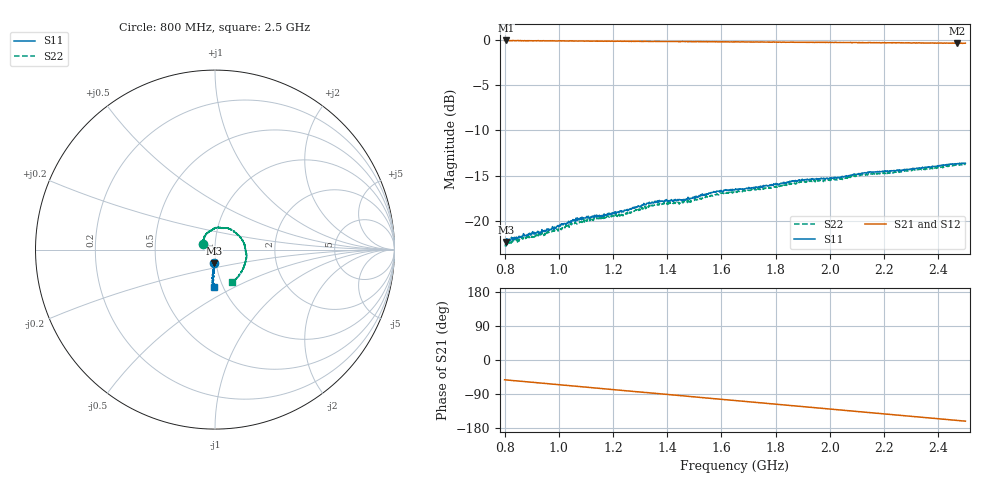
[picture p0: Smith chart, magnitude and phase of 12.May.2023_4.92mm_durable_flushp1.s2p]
!Keysight Technologies N9950B: A.12.38
!Date: Friday, 12 May 2023 16:29:35
!Timezone: (UTC-06:00) Central Time (US & Canada)
!Model: N9950B
!Serial: MY61131330
!GPS Latitude:
!GPS Longitude:
!GPS TimeStamp: 0001-01-01 00:00:00Z
!GPS Seconds Since Last Read: 0
!CHECKSUM:1173795948
!Correction: S11(ON U)S21(ON U)S12(ON U)S22(ON U)
!S2P File: Measurements:S11,S21,S12,S22:
# Hz S DB R 50
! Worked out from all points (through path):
!   1001 points, 800 MHz to 2.5 GHz, reference 50 ohm
!   highest |S21| = -0.10 dB at 805.1 MHz (marker M1); lowest = -0.4 dB at 2.469 GHz (marker M2)
!   group delay of S21, straight-line fit = 178 ps
!   lowest |S11| = -22.3 dB at 806.8 MHz (marker M3), VSWR 1.17, Z = 48.9 - j7.51 ohm
!   |S11| at or under -10 dB: start of sweep to end of sweep
!   |S22| runs from -22.8 to -13.7 dB; largest |S21 - S12| = 0.0064
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8e8  -22.22 -93.8  -0.11 -52.2  -0.14 -52.2  -22.71 156.5
8.051e8  -22.11 -93.7  -0.10 -52.5  -0.13 -52.5  -22.79 156.7
8.068e8  -22.32 -94.2  -0.12 -52.6  -0.14 -52.7  -22.44 155.7
8.34e8  -21.93 -93.0  -0.12 -54.3  -0.13 -54.4  -22.31 152.8
9.598e8  -20.91 -92.2  -0.14 -62.5  -0.16 -62.6  -21.31 136.1
1.0482e9  -20.01 -94.2  -0.15 -68.3  -0.19 -68.2  -20.33 125.8
1.0839e9  -19.88 -92.9  -0.16 -70.5  -0.18 -70.5  -20.08 119.9
1.157e9  -19.44 -92.3  -0.17 -75.2  -0.19 -75.3  -19.75 109.6
1.2267e9  -18.91 -94.0  -0.18 -79.7  -0.20 -79.7  -19.18 102.0
1.3678e9  -17.95 -93.3  -0.22 -88.7  -0.23 -88.7  -18.23 84.3
1.4613e9  -17.74 -94.0  -0.22 -94.8  -0.25 -94.8  -17.87 71.5
1.5786e9  -16.83 -95.0  -0.25 -102.4  -0.27 -102.4  -17.09 58.3
1.65e9  -16.58 -93.7  -0.25 -106.9  -0.29 -106.8  -16.82 48.2
1.7826e9  -16.12 -95.0  -0.29 -115.4  -0.28 -115.5  -16.32 31.9
1.8642e9  -15.60 -93.5  -0.28 -120.8  -0.31 -120.7  -15.97 20.8
1.9339e9  -15.37 -93.4  -0.30 -125.2  -0.32 -125.1  -15.66 11.1
2.0274e9  -15.24 -94.2  -0.32 -131.1  -0.33 -131.1  -15.42 -0.3
2.1141e9  -14.81 -93.6  -0.32 -136.7  -0.35 -136.6  -14.92 -11.6
2.2178e9  -14.53 -93.0  -0.36 -143.4  -0.37 -143.2  -14.66 -25.2
2.3623e9  -14.03 -93.9  -0.39 -152.6  -0.39 -152.5  -14.19 -42.8
2.4694e9  -13.69 -91.8  -0.42 -159.5  -0.43 -159.4  -13.84 -58.0
2.5e9  -13.64 -91.9  -0.40 -161.4  -0.42 -161.3  -13.72 -62.0
